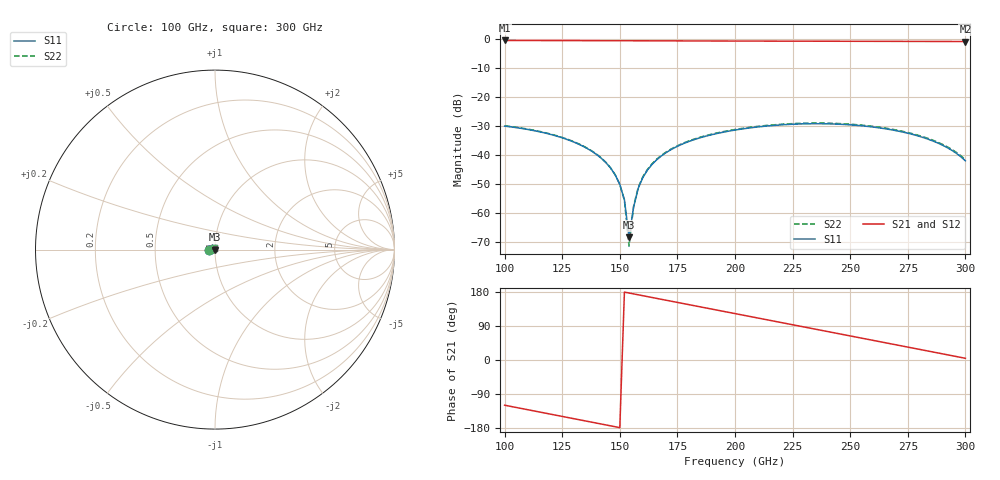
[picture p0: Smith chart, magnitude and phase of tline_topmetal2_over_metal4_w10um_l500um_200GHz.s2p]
#  GHZ S DB R 50
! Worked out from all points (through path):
!   101 points, 100 GHz to 300 GHz, reference 50 ohm
!   highest |S21| = -0.40 dB at 100 GHz (marker M1); lowest = -0.8 dB at 300 GHz (marker M2)
!   group delay of S21, straight-line fit = 3.28 ps
!   lowest |S11| = -68.5 dB at 154 GHz (marker M3), VSWR 1.00, Z = 50 + j0.0106 ohm
!   |S11| at or under -10 dB: start of sweep to end of sweep
!   |S22| runs from -71.6 to -29.0 dB; largest |S21 - S12| = 1.6e-13
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100  -30.05 -176.4  -0.40 -119.3  -0.40 -119.3  -29.93 -175.2
120  -32.93 155.6  -0.43 -143.0  -0.43 -143.0  -32.80 157.0
134  -37.00 136.7  -0.46 -159.5  -0.46 -159.5  -36.88 138.2
144  -42.70 124.3  -0.47 -171.4  -0.47 -171.4  -42.62 125.4
148  -46.93 120.3  -0.48 -176.1  -0.48 -176.1  -46.89 121.1
150  -50.21 119.4  -0.49 -178.5  -0.49 -178.5  -50.23 119.6
152  -55.54 121.7  -0.49 179.1  -0.49 179.1  -55.74 120.3
154  -68.48 163.7  -0.50 176.8  -0.50 176.8  -71.60 161.2
156  -58.05 -88.8  -0.50 174.4  -0.50 174.4  -57.71 -81.2
158  -51.53 -83.8  -0.50 172.0  -0.50 172.0  -51.25 -79.1
160  -47.83 -84.2  -0.51 169.7  -0.51 169.7  -47.59 -80.3
162  -45.26 -85.7  -0.51 167.3  -0.51 167.3  -45.04 -82.2
168  -40.39 -92.3  -0.53 160.2  -0.53 160.2  -40.20 -89.1
180  -35.36 -106.8  -0.56 146.0  -0.56 146.0  -35.18 -103.8
200  -31.41 -130.2  -0.60 122.5  -0.60 122.5  -31.22 -126.9
218  -29.73 -150.8  -0.63 101.3  -0.63 101.3  -29.52 -147.3
234  -29.22 -169.6  -0.65 82.4  -0.65 82.4  -29.00 -165.9
250  -29.61 171.3  -0.68 63.5  -0.68 63.5  -29.39 175.3
268  -31.33 149.7  -0.71 42.3  -0.71 42.3  -31.10 154.2
288  -35.88 126.4  -0.74 18.7  -0.74 18.7  -35.61 132.0
294  -38.36 120.0  -0.75 11.6  -0.75 11.6  -38.06 126.3
300  -42.06 114.5  -0.76 4.5  -0.76 4.5  -41.67 122.3
